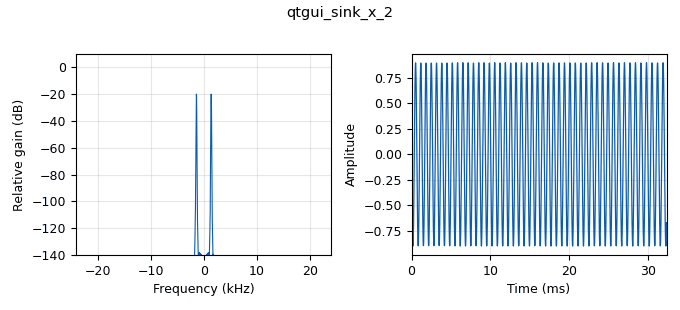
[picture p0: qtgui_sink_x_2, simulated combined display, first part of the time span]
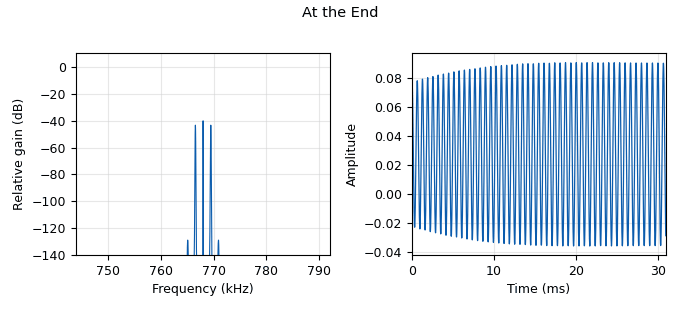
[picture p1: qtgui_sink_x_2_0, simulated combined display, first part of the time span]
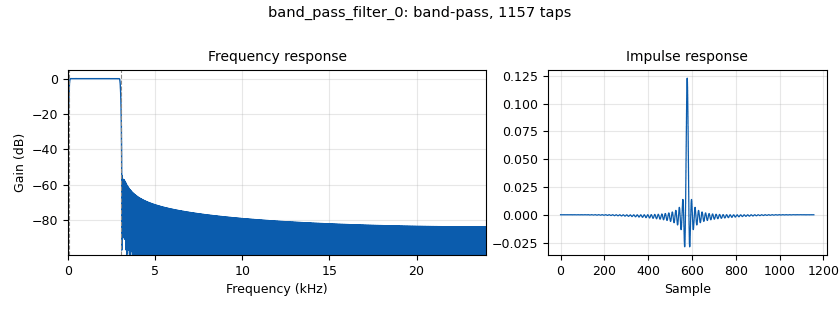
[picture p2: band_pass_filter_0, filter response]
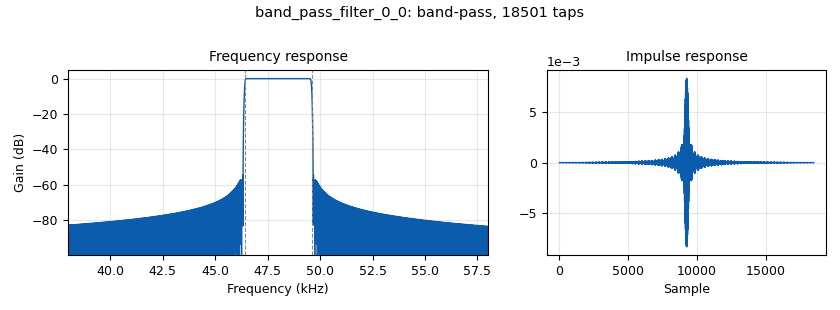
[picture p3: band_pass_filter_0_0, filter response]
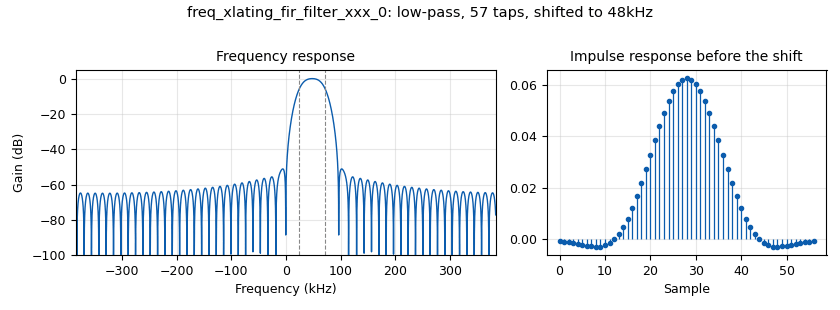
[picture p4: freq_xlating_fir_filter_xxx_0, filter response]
options:
  parameters:
    author: Abraxas3d
    description: Chirp Transmitter for PLB
    generate_options: qt_gui
    id: top_block
    output_language: python
    title: Chirp Transmitter
  states: {}

blocks:
- name: Fs
  id: variable
  parameters:
    value: '2.1'
  states: {}
- name: amplitude
  id: variable
  parameters:
    value: '1300'
  states: {}
- name: decim
  id: variable
  parameters:
    value: '16'
  states: {}
- name: pi
  id: variable
  parameters:
    value: '3.14159'
  states: {}
- name: samp_rate
  id: variable
  parameters:
    value: '48000'
  states: {}
- name: analog_agc_xx_0
  id: analog_agc_xx
  parameters:
    gain: '1.0'
    max_gain: '65536'
    rate: '625e-6'
    reference: '1.0'
    type: complex
  states: {}
- name: analog_noise_source_x_0_0
  id: analog_noise_source_x
  parameters:
    amp: '0'
    comment: channel noise source
    noise_type: analog.GR_GAUSSIAN
    seed: '0'
    type: float
  states: {state: disabled}
- name: analog_sig_source_x_0
  id: analog_sig_source_x
  parameters:
    amp: '-amplitude'
    comment: 300 to 1600 hz
    freq: Fs
    offset: amplitude + 300
    phase: '0'
    samp_rate: samp_rate
    type: float
    waveform: analog.GR_SAW_WAVE
  states: {}
- name: analog_sig_source_x_1
  id: analog_sig_source_x
  parameters:
    amp: '300'
    freq: Fs/10
    offset: '0'
    phase: '0'
    samp_rate: samp_rate
    type: float
    waveform: analog.GR_TRI_WAVE
  states: {state: disabled}
- name: analog_sig_source_x_2
  id: analog_sig_source_x
  parameters:
    amp: '0.5'
    freq: '48000'
    offset: '0'
    phase: '0'
    samp_rate: '768000'
    type: float
    waveform: analog.GR_COS_WAVE
  states: {}
- name: audio_sink_0
  id: audio_sink
  parameters:
    samp_rate: samp_rate
  states: {}
- name: audio_sink_1
  id: audio_sink
  parameters:
    samp_rate: '48000'
  states: {state: disabled}
- name: band_pass_filter_0
  id: band_pass_filter
  parameters:
    decim: '1'
    gain: '1'
    high_cutoff_freq: '3000'
    low_cutoff_freq: '50'
    samp_rate: samp_rate
    type: fir_filter_fff
    width: '100'
    win: firdes.WIN_HAMMING
  states: {}
- name: band_pass_filter_0_0
  id: band_pass_filter
  parameters:
    decim: '1'
    gain: '1'
    high_cutoff_freq: samp_rate + 1600
    low_cutoff_freq: samp_rate - 1600
    samp_rate: '768000'
    type: fir_filter_fff
    width: '100'
    win: firdes.WIN_HAMMING
  states: {}
- name: blocks_add_const_vxx_0
  id: blocks_add_const_vxx
  parameters:
    const: '1'
    type: float
  states: {}
- name: blocks_add_xx_0
  id: blocks_add_xx
  parameters:
    type: float
  states: {state: disabled}
- name: blocks_add_xx_0_0
  id: blocks_add_xx
  parameters:
    type: float
  states: {state: disabled}
- name: blocks_complex_to_mag_0
  id: blocks_complex_to_mag
  parameters: {}
  states: {}
- name: blocks_multiply_const_vxx_0
  id: blocks_multiply_const_vxx
  parameters:
    const: '0.2'
    type: float
  states: {}
- name: blocks_multiply_const_vxx_1
  id: blocks_multiply_const_vxx
  parameters:
    const: '.35'
    type: float
  states: {}
- name: blocks_multiply_xx_0
  id: blocks_multiply_xx
  parameters:
    type: float
  states: {}
- name: blocks_repeat_0
  id: blocks_repeat
  parameters:
    interp: '16'
    type: float
  states: {}
- name: blocks_vco_f_0
  id: blocks_vco_f
  parameters:
    amplitude: '0.9'
    comment: |-
      the power density is proportional to the inverse square of 
      the distance. Every time you double the distance, you receive 
      only one-fourth the power.

      The 121.5 MHz component’s transmitter is reduced from 
      0.100 Watts to 0.025 Watts.
    samp_rate: samp_rate
    sensitivity: (2*pi)
  states: {}
- name: freq_xlating_fir_filter_xxx_0
  id: freq_xlating_fir_filter_xxx
  parameters:
    center_freq: samp_rate
    decim: decim
    samp_rate: '768000'
    taps: firdes.low_pass(1,samp_rate,samp_rate/(2*decim), 2000)
    type: fcf
  states: {}
- name: qtgui_sink_x_2
  id: qtgui_sink_x
  parameters:
    bw: samp_rate
    fc: '0'
    fftsize: '4096'
    gui_hint: '0.0'
    name: ''
    showports: 'True'
    showrf: 'True'
    type: float
    wintype: firdes.WIN_BLACKMAN_hARRIS
  states: {}
- name: qtgui_sink_x_2_0
  id: qtgui_sink_x
  parameters:
    bw: samp_rate
    fc: '768000'
    fftsize: '4096'
    gui_hint: 1,0
    name: At the End
    showports: 'True'
    showrf: 'True'
    type: float
    wintype: firdes.WIN_BLACKMAN_hARRIS
  states: {}

connections:
- [analog_agc_xx_0, '0', blocks_complex_to_mag_0, '0']
- [analog_noise_source_x_0_0, '0', blocks_add_xx_0_0, '1']
- [analog_sig_source_x_0, '0', blocks_add_xx_0, '0']
- [analog_sig_source_x_0, '0', blocks_add_xx_0, '1']
- [analog_sig_source_x_0, '0', blocks_vco_f_0, '0']
- [analog_sig_source_x_1, '0', blocks_add_xx_0, '1']
- [analog_sig_source_x_2, '0', blocks_multiply_xx_0, '1']
- [band_pass_filter_0, '0', blocks_multiply_const_vxx_1, '0']
- [band_pass_filter_0_0, '0', blocks_add_xx_0_0, '0']
- [band_pass_filter_0_0, '0', freq_xlating_fir_filter_xxx_0, '0']
- [blocks_add_const_vxx_0, '0', blocks_multiply_xx_0, '0']
- [blocks_add_xx_0, '0', blocks_vco_f_0, '0']
- [blocks_add_xx_0_0, '0', audio_sink_1, '0']
- [blocks_add_xx_0_0, '0', freq_xlating_fir_filter_xxx_0, '0']
- [blocks_complex_to_mag_0, '0', band_pass_filter_0, '0']
- [blocks_multiply_const_vxx_0, '0', blocks_add_const_vxx_0, '0']
- [blocks_multiply_const_vxx_1, '0', audio_sink_0, '0']
- [blocks_multiply_const_vxx_1, '0', qtgui_sink_x_2_0, '0']
- [blocks_multiply_xx_0, '0', band_pass_filter_0_0, '0']
- [blocks_repeat_0, '0', blocks_multiply_const_vxx_0, '0']
- [blocks_vco_f_0, '0', blocks_repeat_0, '0']
- [blocks_vco_f_0, '0', qtgui_sink_x_2, '0']
- [freq_xlating_fir_filter_xxx_0, '0', analog_agc_xx_0, '0']

metadata:
  file_format: 1
